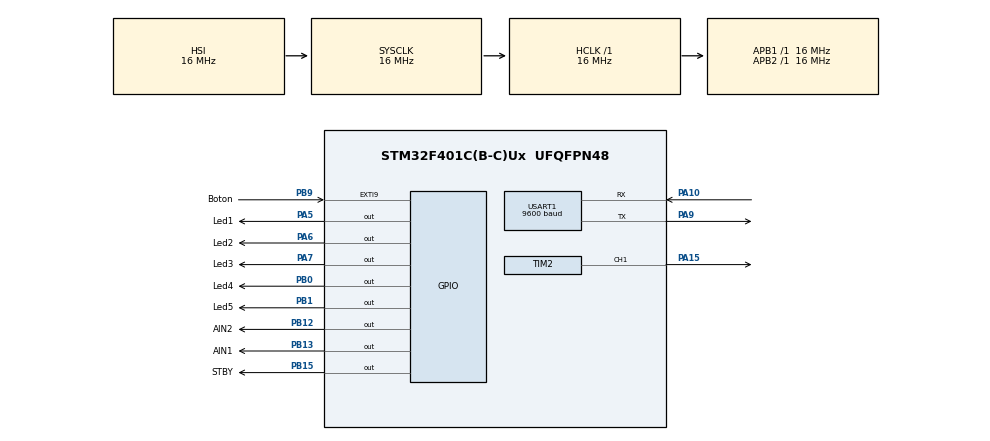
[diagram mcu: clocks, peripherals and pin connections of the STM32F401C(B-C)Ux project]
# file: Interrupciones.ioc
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Dma.Request0=USART1_RX
Dma.USART1_RX.0.Direction=DMA_PERIPH_TO_MEMORY
Dma.USART1_RX.0.FIFOMode=DMA_FIFOMODE_DISABLE
Dma.USART1_RX.0.Instance=DMA2_Stream2
Dma.USART1_RX.0.MemDataAlignment=DMA_MDATAALIGN_BYTE
Dma.USART1_RX.0.MemInc=DMA_MINC_ENABLE
Dma.USART1_RX.0.Mode=DMA_NORMAL
Dma.USART1_RX.0.PeriphDataAlignment=DMA_PDATAALIGN_BYTE
Dma.USART1_RX.0.PeriphInc=DMA_PINC_DISABLE
Dma.USART1_RX.0.Priority=DMA_PRIORITY_LOW
Mcu.Family=STM32F4
Mcu.Name=STM32F401C(B-C)Ux
Mcu.Package=UFQFPN48
NVIC.DMA2_Stream2_IRQn=true\:0\:0\:false\:false\:true\:false\:true\:true
NVIC.EXTI9_5_IRQn=true\:0\:0\:false\:false\:true\:true\:true\:true
NVIC.PriorityGroup=NVIC_PRIORITYGROUP_4
NVIC.TIM1_UP_TIM10_IRQn=true\:1\:0\:true\:false\:true\:true\:true\:true
NVIC.USART1_IRQn=true\:1\:0\:true\:false\:true\:true\:true\:true
PA10.Mode=Asynchronous
PA10.Signal=USART1_RX
PA15.Signal=S_TIM2_CH1_ETR
PA5.GPIO_Label=Led1
PA5.Signal=GPIO_Output
PA6.GPIO_Label=Led2
PA6.Signal=GPIO_Output
PA7.GPIO_Label=Led3
PA7.Signal=GPIO_Output
PA9.Mode=Asynchronous
PA9.Signal=USART1_TX
PB0.GPIO_Label=Led4
PB0.Signal=GPIO_Output
PB1.GPIO_Label=Led5
PB1.Signal=GPIO_Output
PB12.GPIO_Label=AIN2
PB12.Signal=GPIO_Output
PB13.GPIO_Label=AIN1
PB13.Signal=GPIO_Output
PB15.GPIO_Label=STBY
PB15.Signal=GPIO_Output
PB9.GPIO_Label=Boton
PB9.GPIO_PuPd=GPIO_PULLUP
PB9.Signal=GPXTI9
ProjectManager.HeapSize=0x200
ProjectManager.StackSize=0x400
ProjectManager.TargetToolchain=CMake
RCC.AHBFreq_Value=16000000
RCC.APB1Freq_Value=16000000
RCC.APB2Freq_Value=16000000
RCC.CortexFreq_Value=16000000
RCC.HSE_VALUE=25000000
RCC.HSI_VALUE=16000000
RCC.LSE_VALUE=32768
RCC.SYSCLKFreq_VALUE=16000000
RCC.VCOOutputFreq_Value=192000000
SH.S_TIM2_CH1_ETR.0=TIM2_CH1,PWM Generation1 CH1
TIM1.AutoReloadPreload=TIM_AUTORELOAD_PRELOAD_ENABLE
TIM1.Period=700-1
TIM1.Prescaler=16000-1
TIM2.AutoReloadPreload=TIM_AUTORELOAD_PRELOAD_ENABLE
TIM2.Channel-PWM\ Generation1\ CH1=TIM_CHANNEL_1
TIM2.Period=12500
TIM2.Prescaler=16
USART1.BaudRate=9600
USART1.VirtualMode=VM_ASYNC
VP_TIM1_VS_ClockSourceINT.Mode=Internal
VP_TIM2_VS_ClockSourceINT.Mode=Internal
board=custom

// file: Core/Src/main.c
/* USER CODE BEGIN Header */
/**
  ******************************************************************************
  * @file           : main.c
  * @brief          : Main program body
  ******************************************************************************
  * @attention
  *
  * Copyright (c) 2026 STMicroelectronics.
  * All rights reserved.
  *
  * This software is licensed under terms that can be found in the LICENSE file
  * in the root directory of this software component.
  * If no LICENSE file comes with this software, it is provided AS-IS.
  *
  ******************************************************************************
  */
/* USER CODE END Header */
#include "main.h"

/* USER CODE BEGIN Includes */
#include <stdio.h>
#include <string.h>
#include <stdlib.h>
#include "math.h"
#include "uart.h"
#include "UARTRX.h"
#include "PWMB.h"
/* USER CODE END Includes */

TIM_HandleTypeDef htim1;
TIM_HandleTypeDef htim2;

UART_HandleTypeDef huart1;
DMA_HandleTypeDef hdma_usart1_rx;

void SystemClock_Config(void);
static void MX_GPIO_Init(void);
static void MX_DMA_Init(void);
static void MX_TIM1_Init(void);
static void MX_USART1_UART_Init(void);
static void MX_TIM2_Init(void);

/* USER CODE BEGIN 0 */
void procesa_rx(void)
{
    if (strstr((char *)UARTRX1.trama_rx, "ON") != NULL || strstr((char *)UARTRX1.trama_rx, "V00=1") != NULL)
    {
        HAL_GPIO_WritePin(Led5_GPIO_Port, Led5_Pin, GPIO_PIN_SET);
    }
    else if (strstr((char *)UARTRX1.trama_rx, "OFF") != NULL || strstr((char *)UARTRX1.trama_rx, "V00=0") != NULL)
    {
        HAL_GPIO_WritePin(Led5_GPIO_Port, Led5_Pin, GPIO_PIN_RESET);
    }
    else if (strstr((char *)UARTRX1.trama_rx, "TOGGLE") != NULL)
    {
        HAL_GPIO_TogglePin(Led5_GPIO_Port, Led5_Pin);
    }
    else if (strstr((char *)UARTRX1.trama_rx, "LOW") != NULL)
    {
      PWM_valor(&PWM1, 30);
    }
    else if (strstr((char *)UARTRX1.trama_rx, "MEDIUM") != NULL)
    {
      PWM_valor(&PWM1, 60);
    }
    else if (strstr((char *)UARTRX1.trama_rx, "HIGH") != NULL)
    {
      PWM_valor(&PWM1, 90);
    }
    else if (strstr((char *)UARTRX1.trama_rx, "ZERO") != NULL)
    {
      PWM_valor(&PWM1, 0);
    }
}
/* USER CODE END 0 */

int main(void)
{

  /* MCU Configuration--------------------------------------------------------*/

  /* Reset of all peripherals, Initializes the Flash interface and the Systick. */
  HAL_Init();

  /* Configure the system clock */
  SystemClock_Config();

  /* Initialize all configured peripherals */
  MX_GPIO_Init();
  MX_DMA_Init();
  MX_TIM1_Init();
  MX_USART1_UART_Init();
  MX_TIM2_Init();
  /* USER CODE BEGIN 2 */
  HAL_TIM_Base_Start_IT(&htim1);
  uartRX_it_idle_dma_init(&UARTRX1);
  PWM_init(&PWM1);
  HAL_GPIO_WritePin(STBY_GPIO_Port, STBY_Pin, GPIO_PIN_SET);
  HAL_GPIO_WritePin(AIN1_GPIO_Port, AIN1_Pin, GPIO_PIN_SET);
  HAL_GPIO_WritePin(AIN2_GPIO_Port, AIN2_Pin, GPIO_PIN_RESET);
  /* USER CODE END 2 */

  /* Infinite loop */
  /* USER CODE BEGIN WHILE */
  while (1)
  {
    HAL_GPIO_TogglePin(Led1_GPIO_Port, Led1_Pin);
    HAL_Delay(500);
    if (UARTRX1.flag_rx==1)
	  {
	    //uartx_write_text(&huart1, UARTRX1.trama_rx);
	    procesa_rx(); //procedimeinto donde se procesan los datos
		  uartRX_DMA_Re_init(&UARTRX1);
	  }
    /* USER CODE END WHILE */

  }
}

void SystemClock_Config(void)
{
  RCC_OscInitTypeDef RCC_OscInitStruct = {0};
  RCC_ClkInitTypeDef RCC_ClkInitStruct = {0};

  /** Configure the main internal regulator output voltage
  */
  __HAL_RCC_PWR_CLK_ENABLE();
  __HAL_PWR_VOLTAGESCALING_CONFIG(PWR_REGULATOR_VOLTAGE_SCALE2);

  /** Initializes the RCC Oscillators according to the specified parameters
  * in the RCC_OscInitTypeDef structure.
  */
  RCC_OscInitStruct.OscillatorType = RCC_OSCILLATORTYPE_HSI;
  RCC_OscInitStruct.HSIState = RCC_HSI_ON;
  RCC_OscInitStruct.HSICalibrationValue = RCC_HSICALIBRATION_DEFAULT;
  RCC_OscInitStruct.PLL.PLLState = RCC_PLL_NONE;
  if (HAL_RCC_OscConfig(&RCC_OscInitStruct) != HAL_OK)
  {
    Error_Handler();
  }

  /** Initializes the CPU, AHB and APB buses clocks
  */
  RCC_ClkInitStruct.ClockType = RCC_CLOCKTYPE_HCLK|RCC_CLOCKTYPE_SYSCLK
                              |RCC_CLOCKTYPE_PCLK1|RCC_CLOCKTYPE_PCLK2;
  RCC_ClkInitStruct.SYSCLKSource = RCC_SYSCLKSOURCE_HSI;
  RCC_ClkInitStruct.AHBCLKDivider = RCC_SYSCLK_DIV1;
  RCC_ClkInitStruct.APB1CLKDivider = RCC_HCLK_DIV1;
  RCC_ClkInitStruct.APB2CLKDivider = RCC_HCLK_DIV1;

  if (HAL_RCC_ClockConfig(&RCC_ClkInitStruct, FLASH_LATENCY_0) != HAL_OK)
  {
    Error_Handler();
  }
}

static void MX_TIM1_Init(void)
{

  TIM_ClockConfigTypeDef sClockSourceConfig = {0};
  TIM_MasterConfigTypeDef sMasterConfig = {0};

  htim1.Instance = TIM1;
  htim1.Init.Prescaler = 16000-1;
  htim1.Init.CounterMode = TIM_COUNTERMODE_UP;
  htim1.Init.Period = 700-1;
  htim1.Init.ClockDivision = TIM_CLOCKDIVISION_DIV1;
  htim1.Init.RepetitionCounter = 0;
  htim1.Init.AutoReloadPreload = TIM_AUTORELOAD_PRELOAD_ENABLE;
  if (HAL_TIM_Base_Init(&htim1) != HAL_OK)
  {
    Error_Handler();
  }
  sClockSourceConfig.ClockSource = TIM_CLOCKSOURCE_INTERNAL;
  if (HAL_TIM_ConfigClockSource(&htim1, &sClockSourceConfig) != HAL_OK)
  {
    Error_Handler();
  }
  sMasterConfig.MasterOutputTrigger = TIM_TRGO_RESET;
  sMasterConfig.MasterSlaveMode = TIM_MASTERSLAVEMODE_DISABLE;
  if (HAL_TIMEx_MasterConfigSynchronization(&htim1, &sMasterConfig) != HAL_OK)
  {
    Error_Handler();
  }

}

static void MX_TIM2_Init(void)
{

  TIM_ClockConfigTypeDef sClockSourceConfig = {0};
  TIM_MasterConfigTypeDef sMasterConfig = {0};
  TIM_OC_InitTypeDef sConfigOC = {0};

  htim2.Instance = TIM2;
  htim2.Init.Prescaler = 16;
  htim2.Init.CounterMode = TIM_COUNTERMODE_UP;
  htim2.Init.Period = 12500;
  htim2.Init.ClockDivision = TIM_CLOCKDIVISION_DIV1;
  htim2.Init.AutoReloadPreload = TIM_AUTORELOAD_PRELOAD_ENABLE;
  if (HAL_TIM_Base_Init(&htim2) != HAL_OK)
  {
    Error_Handler();
  }
  sClockSourceConfig.ClockSource = TIM_CLOCKSOURCE_INTERNAL;
  if (HAL_TIM_ConfigClockSource(&htim2, &sClockSourceConfig) != HAL_OK)
  {
    Error_Handler();
  }
  if (HAL_TIM_PWM_Init(&htim2) != HAL_OK)
  {
    Error_Handler();
  }
  sMasterConfig.MasterOutputTrigger = TIM_TRGO_RESET;
  sMasterConfig.MasterSlaveMode = TIM_MASTERSLAVEMODE_DISABLE;
  if (HAL_TIMEx_MasterConfigSynchronization(&htim2, &sMasterConfig) != HAL_OK)
  {
    Error_Handler();
  }
  sConfigOC.OCMode = TIM_OCMODE_PWM1;
  sConfigOC.Pulse = 0;
  sConfigOC.OCPolarity = TIM_OCPOLARITY_HIGH;
  sConfigOC.OCFastMode = TIM_OCFAST_DISABLE;
  if (HAL_TIM_PWM_ConfigChannel(&htim2, &sConfigOC, TIM_CHANNEL_1) != HAL_OK)
  {
    Error_Handler();
  }
  HAL_TIM_MspPostInit(&htim2);

}

static void MX_USART1_UART_Init(void)
{

  huart1.Instance = USART1;
  huart1.Init.BaudRate = 9600;
  huart1.Init.WordLength = UART_WORDLENGTH_8B;
  huart1.Init.StopBits = UART_STOPBITS_1;
  huart1.Init.Parity = UART_PARITY_NONE;
  huart1.Init.Mode = UART_MODE_TX_RX;
  huart1.Init.HwFlowCtl = UART_HWCONTROL_NONE;
  huart1.Init.OverSampling = UART_OVERSAMPLING_16;
  if (HAL_UART_Init(&huart1) != HAL_OK)
  {
    Error_Handler();
  }

}

static void MX_DMA_Init(void)
{

  /* DMA controller clock enable */
  __HAL_RCC_DMA2_CLK_ENABLE();

  /* DMA interrupt init */
  /* DMA2_Stream2_IRQn interrupt configuration */
  HAL_NVIC_SetPriority(DMA2_Stream2_IRQn, 0, 0);
  HAL_NVIC_EnableIRQ(DMA2_Stream2_IRQn);

}

static void MX_GPIO_Init(void)
{
  GPIO_InitTypeDef GPIO_InitStruct = {0};

  /* GPIO Ports Clock Enable */
  __HAL_RCC_GPIOA_CLK_ENABLE();
  __HAL_RCC_GPIOB_CLK_ENABLE();

  /*Configure GPIO pin Output Level */
  HAL_GPIO_WritePin(GPIOA, Led1_Pin|Led2_Pin|Led3_Pin, GPIO_PIN_RESET);

  /*Configure GPIO pin Output Level */
  HAL_GPIO_WritePin(GPIOB, Led4_Pin|Led5_Pin|AIN2_Pin|AIN1_Pin
                          |STBY_Pin, GPIO_PIN_RESET);

  /*Configure GPIO pins : Led1_Pin Led2_Pin Led3_Pin */
  GPIO_InitStruct.Pin = Led1_Pin|Led2_Pin|Led3_Pin;
  GPIO_InitStruct.Mode = GPIO_MODE_OUTPUT_PP;
  GPIO_InitStruct.Pull = GPIO_NOPULL;
  GPIO_InitStruct.Speed = GPIO_SPEED_FREQ_LOW;
  HAL_GPIO_Init(GPIOA, &GPIO_InitStruct);

  /*Configure GPIO pins : Led4_Pin Led5_Pin AIN2_Pin AIN1_Pin
                           STBY_Pin */
  GPIO_InitStruct.Pin = Led4_Pin|Led5_Pin|AIN2_Pin|AIN1_Pin
                          |STBY_Pin;
  GPIO_InitStruct.Mode = GPIO_MODE_OUTPUT_PP;
  GPIO_InitStruct.Pull = GPIO_NOPULL;
  GPIO_InitStruct.Speed = GPIO_SPEED_FREQ_LOW;
  HAL_GPIO_Init(GPIOB, &GPIO_InitStruct);

  /*Configure GPIO pin : Boton_Pin */
  GPIO_InitStruct.Pin = Boton_Pin;
  GPIO_InitStruct.Mode = GPIO_MODE_IT_RISING;
  GPIO_InitStruct.Pull = GPIO_PULLUP;
  HAL_GPIO_Init(Boton_GPIO_Port, &GPIO_InitStruct);

  /* EXTI interrupt init*/
  HAL_NVIC_SetPriority(EXTI9_5_IRQn, 0, 0);
  HAL_NVIC_EnableIRQ(EXTI9_5_IRQn);

}

void Error_Handler(void)
{
  __disable_irq();
  while (1)
  {
  }
}
